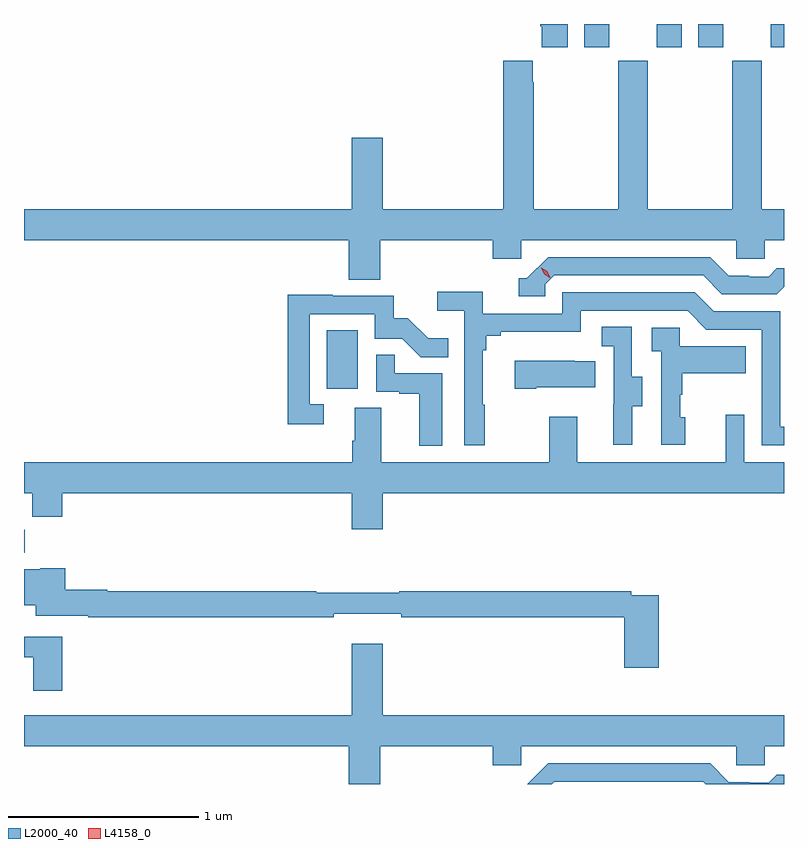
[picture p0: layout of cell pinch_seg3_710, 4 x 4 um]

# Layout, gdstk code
import gdstk
lib = gdstk.Library(unit=1e-6, precision=1e-09)
def R(c, l, rs):  # rectangles x0, y0, x1, y1
    for r in rs: c.add(gdstk.rectangle(r[:2], r[2:], *l))
def P(c, l, *ps):  # polygons
    for p in ps: c.add(gdstk.Polygon(p, *l))
L2000_40 = (2000, 40)
L4158_0 = (4158, 0)

pinch_seg3_710 = lib.new_cell('pinch_seg3_710')
R(pinch_seg3_710, L2000_40, [(1140.305,680.624,1140.308,680.743), (1141.898,681.486,1142.062,681.793), (1143.254,683.283,1143.385,683.406), (1143.635,683.283,1143.766,683.406), (1143.854,683.283,1143.985,683.406), (1144.235,683.283,1144.305,683.406)])
P(pinch_seg3_710, L2000_40, [(1143.166,683.406),(1143.023,683.406),(1143.023,683.395),(1143.029,683.395),(1143.029,683.283),(1143.166,683.283)],
  [(1142.18,682.268),(1142.771,682.268),(1142.771,682.17),(1142.922,682.17),(1142.922,682.268),(1144.053,682.268),(1144.053,682.17),(1144.203,682.17),(1144.203,682.268),(1144.305,682.268),(1144.305,682.432),(1144.188,682.432),(1144.188,683.212),(1144.033,683.212),(1144.033,682.432),(1143.588,682.432),(1143.588,683.212),(1143.433,683.212),(1143.433,682.432),(1142.988,682.432),(1142.988,683.099),(1142.983,683.099),(1142.983,683.212),(1142.828,683.212),(1142.828,682.432),(1142.194,682.432),(1142.194,682.807),(1142.03,682.807),(1142.03,682.432),(1140.305,682.432),(1140.305,682.268),(1142.015,682.268),(1142.015,682.06),(1142.18,682.06)],
  [(1143.048,682.035),(1143.096,682.083),(1143.879,682.083),(1143.978,681.984),(1144.267,681.984),(1144.305,682.022),(1144.305,682.12),(1144.267,682.12),(1144.225,682.077),(1144.122,682.077),(1144.122,682.08),(1144.015,682.08),(1143.916,682.179),(1143.063,682.179),(1142.952,682.068),(1142.909,682.068),(1142.909,681.972),(1143.048,681.972)],
  [(1142.731,681.401),(1142.719,681.401),(1142.719,681.689),(1142.738,681.689),(1142.738,681.766),(1142.815,681.766),(1142.815,681.785),(1143.234,681.785),(1143.234,681.897),(1143.798,681.897),(1143.897,681.798),(1144.188,681.798),(1144.188,681.189),(1144.305,681.189),(1144.305,681.285),(1144.284,681.285),(1144.284,681.894),(1143.934,681.894),(1143.835,681.993),(1143.138,681.993),(1143.138,681.882),(1142.72,681.882),(1142.72,681.998),(1142.481,681.998),(1142.481,681.896),(1142.622,681.896),(1142.622,681.189),(1142.731,681.189)],
  [(1141.882,681.405),(1141.809,681.405),(1141.809,681.879),(1142.151,681.879),(1142.151,681.75),(1142.296,681.75),(1142.394,681.652),(1142.537,681.652),(1142.537,681.751),(1142.433,681.751),(1142.326,681.858),(1142.25,681.858),(1142.25,681.975),(1141.931,681.975),(1141.931,681.98),(1141.693,681.98),(1141.693,681.3),(1141.882,681.3)],
  [(1143.505,681.394),(1143.559,681.394),(1143.559,681.549),(1143.504,681.549),(1143.504,681.812),(1143.345,681.812),(1143.345,681.709),(1143.408,681.709),(1143.408,681.405),(1143.407,681.405),(1143.407,681.192),(1143.505,681.192)],
  [(1143.784,681.336),(1143.759,681.336),(1143.759,681.455),(1143.769,681.455),(1143.769,681.569),(1144.103,681.569),(1144.103,681.709),(1143.756,681.709),(1143.756,681.807),(1143.609,681.807),(1143.609,681.683),(1143.66,681.683),(1143.66,681.192),(1143.784,681.192)],
  [(1142.506,681.567),(1142.255,681.567),(1142.255,681.665),(1142.16,681.665),(1142.16,681.471),(1142.281,681.471),(1142.281,681.459),(1142.384,681.459),(1142.384,681.185),(1142.506,681.185)],
  [(1143.001,681.494),(1143.311,681.494),(1143.311,681.631),(1143.203,681.631),(1143.203,681.634),(1142.889,681.634),(1142.889,681.487),(1143.001,681.487)],
  [(1142.194,680.936),(1144.305,680.936),(1144.305,681.1),(1144.095,681.1),(1144.095,681.349),(1143.998,681.349),(1143.998,681.1),(1143.217,681.1),(1143.217,681.34),(1143.07,681.34),(1143.07,681.1),(1142.185,681.1),(1142.185,681.386),(1142.045,681.386),(1142.045,681.212),(1142.033,681.212),(1142.033,681.1),(1140.305,681.1),(1140.305,680.936),(1140.349,680.936),(1140.349,680.812),(1140.506,680.812),(1140.506,680.936),(1142.03,680.936),(1142.03,680.748),(1142.194,680.748)],
  [(1143.647,680.4),(1143.5,680.4),(1143.5,680.42),(1142.281,680.42),(1142.281,680.413),(1141.844,680.413),(1141.844,680.42),(1140.744,680.42),(1140.744,680.428),(1140.521,680.428),(1140.521,680.542),(1140.39,680.542),(1140.39,680.536),(1140.305,680.536),(1140.305,680.348),(1140.368,680.348),(1140.368,680.291),(1140.644,680.291),(1140.644,680.284),(1141.934,680.284),(1141.934,680.303),(1142.29,680.303),(1142.29,680.284),(1143.464,680.284),(1143.464,680.019),(1143.647,680.019)],
  [(1140.506,680.182),(1140.305,680.182),(1140.305,680.073),(1140.353,680.073),(1140.353,679.896),(1140.506,679.896)],
  [(1142.18,679.604),(1142.771,679.604),(1142.771,679.506),(1142.922,679.506),(1142.922,679.604),(1144.053,679.604),(1144.053,679.506),(1144.203,679.506),(1144.203,679.604),(1144.305,679.604),(1144.305,679.768),(1142.194,679.768),(1142.194,680.143),(1142.03,680.143),(1142.03,679.768),(1140.305,679.768),(1140.305,679.604),(1142.015,679.604),(1142.015,679.406),(1142.18,679.406)],
  [(1143.096,679.419),(1143.879,679.419),(1143.892,679.406),(1144.305,679.406),(1144.305,679.456),(1144.267,679.456),(1144.225,679.413),(1144.122,679.413),(1144.122,679.416),(1144.015,679.416),(1143.916,679.515),(1143.063,679.515),(1142.954,679.406),(1143.083,679.406)])
P(pinch_seg3_710, L4158_0, [(1143.073,682.071),(1143.043,682.09),(1143.027,682.123),(1143.027,682.123),(1143.028,682.123),(1143.058,682.104),(1143.074,682.071),(1143.074,682.071)])

lib.write_gds('pinch_seg3_710.gds')
